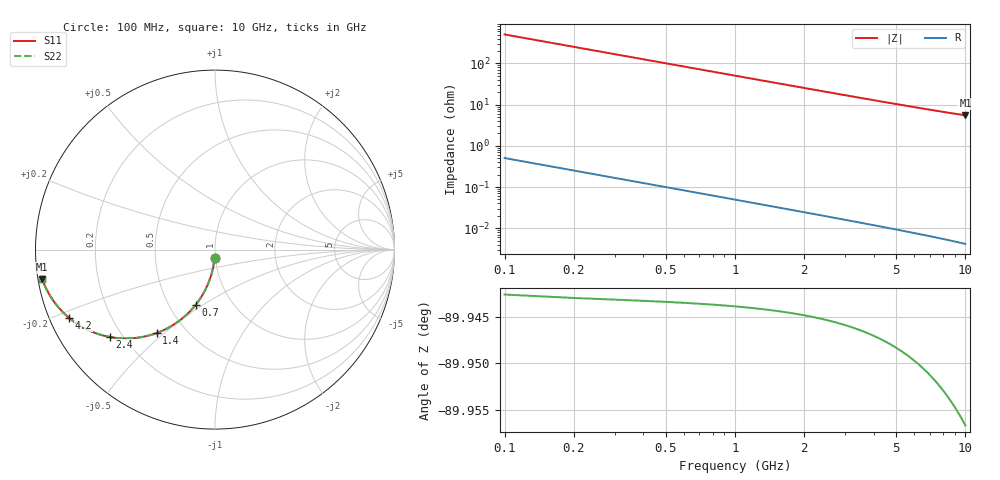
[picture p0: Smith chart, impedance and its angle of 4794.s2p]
# Hz S RI R 50.00
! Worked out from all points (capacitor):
!   100 points, 100 MHz to 10 GHz, reference 50 ohm
!   read as one part in shunt: C = 3.15 pF near 100 MHz
!   lowest |Z| = 5.5 ohm at 10 GHz (marker M1)
!   S11 on the Smith chart (normalised r, x): 100 MHz: 0.99, -0.10; 700 MHz: 0.68, -0.47; 1.4 GHz: 0.34, -0.47; 2.4 GHz: 0.15, -0.35; 4.2 GHz: 0.06, -0.22; 10 GHz: 0.01, -0.09
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1e8  -0.00245 -0.0492  0.9975 -0.0496  0.9975 -0.0496  -0.00245 -0.0492
2e8  -0.00977 -0.0976  0.9902 -0.0985  0.9902 -0.0985  -0.00977 -0.0976
3e8  -0.0217 -0.1447  0.9782 -0.1459  0.9782 -0.1459  -0.0217 -0.1447
4e8  -0.0379 -0.1897  0.962 -0.1913  0.962 -0.1913  -0.0379 -0.1897
5e8  -0.0579 -0.2321  0.942 -0.2342  0.942 -0.2342  -0.0579 -0.2321
6e8  -0.0813 -0.2715  0.9186 -0.2741  0.9186 -0.2741  -0.0813 -0.2715
7e8  -0.1074 -0.3077  0.8925 -0.3107  0.8925 -0.3107  -0.1074 -0.3077
8e8  -0.1358 -0.3404  0.8641 -0.3438  0.8641 -0.3438  -0.1358 -0.3404
1e9  -0.197 -0.3951  0.8029 -0.3994  0.8029 -0.3994  -0.197 -0.3951
1.2e9  -0.2609 -0.4361  0.739 -0.4412  0.739 -0.4412  -0.2609 -0.4361
1.4e9  -0.3245 -0.4647  0.6754 -0.4707  0.6754 -0.4707  -0.3245 -0.4647
1.8e9  -0.4424 -0.4923  0.5575 -0.5  0.5575 -0.5  -0.4424 -0.4923
2.1e9  -0.5192 -0.4946  0.4807 -0.5036  0.4807 -0.5036  -0.5192 -0.4946
2.4e9  -0.585 -0.4871  0.4148 -0.4973  0.4148 -0.4973  -0.585 -0.4871
2.9e9  -0.673 -0.4623  0.3268 -0.4748  0.3268 -0.4748  -0.673 -0.4623
3.4e9  -0.7389 -0.4313  0.2609 -0.446  0.2609 -0.446  -0.7389 -0.4313
4.2e9  -0.8121 -0.3808  0.1876 -0.3991  0.1876 -0.3991  -0.8121 -0.3808
5.1e9  -0.8647 -0.3302  0.135 -0.3526  0.135 -0.3526  -0.8647 -0.3302
5.8e9  -0.8923 -0.2964  0.1073 -0.322  0.1073 -0.322  -0.8923 -0.2964
6.7e9  -0.9173 -0.2595  0.0821 -0.2894  0.0821 -0.2894  -0.9173 -0.2595
8.4e9  -0.9463 -0.2051  0.0529 -0.2432  0.0529 -0.2432  -0.9463 -0.2051
1e10  -0.9618 -0.1666  0.037 -0.2126  0.037 -0.2126  -0.9618 -0.1666
